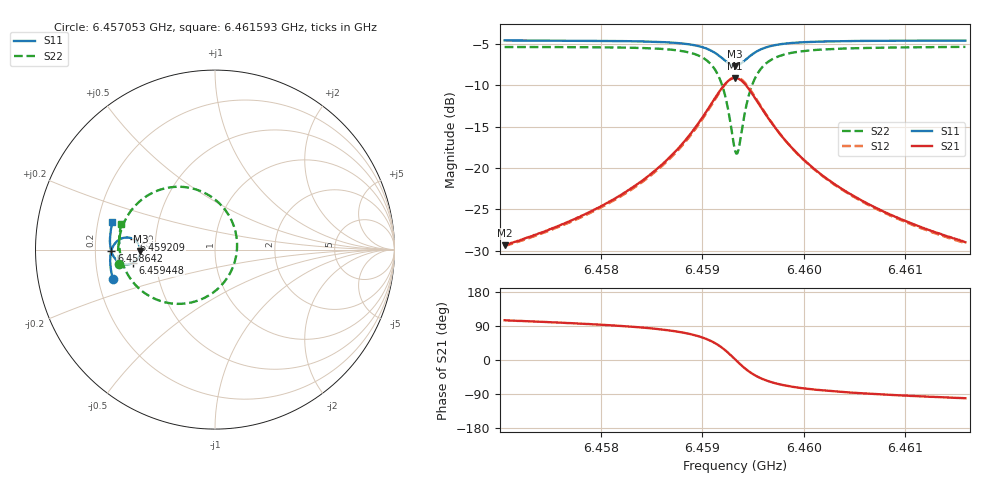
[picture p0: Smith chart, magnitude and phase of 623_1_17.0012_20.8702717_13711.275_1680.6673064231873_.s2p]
#  HZ  S  RI  R  50.00
! Rohde & Schwarz Vector Network Analyzer
! Rohde-Schwarz,ZNB20-2Port,1311601062101988,3.16
! Created: UTC 3/20/2024, 11:20:00 PM
! freq[Hz]  re:S11  im:S11  re:S21  im:S21  re:S12  im:S12  re:S22  im:S22
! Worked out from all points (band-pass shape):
!   401 points, 6.457053 GHz to 6.461593 GHz, reference 50 ohm
!   highest |S21| = -9.09 dB at 6.459323 GHz (marker M1); lowest = -29.4 dB at 6.457053 GHz (marker M2)
!   |S21| within 3 dB of the highest: 6.459096 GHz to 6.45955 GHz (454 kHz wide, 0.00703 % of centre)
!   lowest |S11| = -7.6 dB at 6.459323 GHz (marker M3), VSWR 2.42, Z = 20.6 - j0.376 ohm
!   |S11| at or under -10 dB: nowhere
!   |S22| runs from -18.2 to -5.3 dB; largest |S21 - S12| = 0.014
!   S11 on the Smith chart (normalised r, x): 6.457053 GHz: 0.26, -0.13; 6.458642 GHz: 0.27, -0.01; 6.459209 GHz: 0.38, +0.05; 6.459448 GHz: 0.37, -0.07; 6.461593 GHz: 0.26, +0.12
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6.457053e9  -0.5684 -0.1664  -0.00879 0.0329  -0.0069 0.033  -0.5349 -0.0776
6.4578134e9  -0.5816 -0.0994  -0.00521 0.0514  -0.00279 0.0505  -0.5389 0.0125
6.458222e9  -0.584 -0.0584  0.000835 0.0702  0.00397 0.0688  -0.5303 0.0778
6.4585738e9  -0.5797 -0.0161  0.0152 0.1001  0.0193 0.0973  -0.5035 0.158
6.4586419e9  -0.5775 -0.00656  0.0208 0.1084  0.0248 0.1052  -0.4931 0.1783
6.4588348e9  -0.5644 0.0238  0.0478 0.1397  0.0519 0.1346  -0.4419 0.2475
6.4589823e9  -0.5414 0.0501  0.094 0.1703  0.0972 0.1635  -0.3567 0.312
6.4591185e9  -0.497 0.0674  0.1825 0.1867  0.1832 0.1792  -0.1947 0.35
6.4592093e9  -0.4517 0.0567  0.2735 0.1546  0.2737 0.1486  -0.0258 0.2977
6.4592774e9  -0.4224 0.0239  0.3347 0.0813  0.3369 0.076  0.091 0.1652
6.4593228e9  -0.4155 -0.00753  0.3509 0.012  0.3547 0.00521  0.123 0.0355
6.4593568e9  -0.4195 -0.0317  0.3447 -0.0411  0.3489 -0.0505  0.1107 -0.0659
6.4594022e9  -0.4355 -0.0583  0.3153 -0.1019  0.3177 -0.1142  0.051 -0.1811
6.4594476e9  -0.4579 -0.0747  0.2723 -0.1435  0.2714 -0.1571  -0.0365 -0.2567
6.4595384e9  -0.5021 -0.0816  0.1858 -0.1747  0.1793 -0.1863  -0.2091 -0.3024
6.4596065e9  -0.5266 -0.0742  0.1369 -0.1721  0.1285 -0.1813  -0.3041 -0.2862
6.4596859e9  -0.5464 -0.061  0.0966 -0.1597  0.0878 -0.1661  -0.3794 -0.2504
6.4598448e9  -0.5682 -0.0331  0.0514 -0.131  0.0434 -0.1339  -0.4603 -0.1767
6.4600832e9  -0.5809 0.00248  0.022 -0.0989  0.016 -0.0993  -0.5086 -0.0928
6.460435e9  -0.5854 0.0445  0.00553 -0.0708  0.00153 -0.0702  -0.5298 -0.0107
6.4608435e9  -0.5833 0.0858  -0.00171 -0.0525  -0.00465 -0.0516  -0.5335 0.0554
6.4615925e9  -0.5712 0.1523  -0.0067 -0.0349  -0.00843 -0.0341  -0.5218 0.1451
